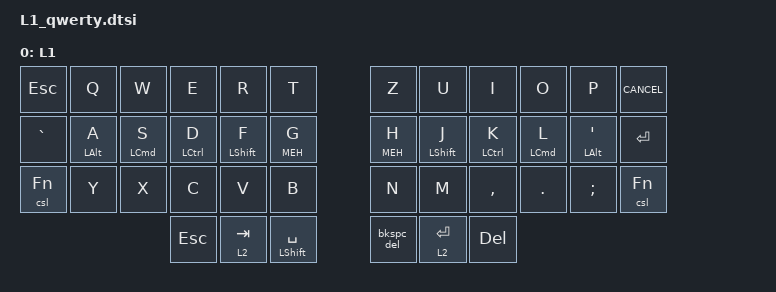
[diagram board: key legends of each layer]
/**
 * Alpha Layer - QWERTY
 */

/ {
  keymap {
    compatible = "zmk,keymap";

    qwerty_layer {
      display-name = "L1";
      bindings = <
// ╭───────────────┬───────────────┬───────────────┬───────────────┬───────────────┬───────────────╮   ╭───────────────┬───────────────┬───────────────┬───────────────┬───────────────┬───────────────╮
// │0              │1              │2              │3              │4              │5              │   │6              │7              │8              │9              │10             │11             │
    &kp ESC         &kp Q           &kp W           &kp E           &kp R           &kp T               &kp Z           &kp U           &kp I           &kp O           &kp P           &kp K_CANCEL
// ├───────────────├───────────────┼───────────────┼───────────────┼───────────────┼───────────────┤   ├───────────────├───────────────┼───────────────┼───────────────┼───────────────┼───────────────┤
// │12             │13             │14             │15             │16             │17             │   │18             │19             │20             │21             │22             │23             │
    &kp GRAVE       &hrml LALT A    &hrml LCMD S    &hrml LCTRL D   &hrml LSHFT F   &hrml MEH G         &hrmr MEH H      &hrmr LSHFT J  &hrmr LCTRL K   &hrmr LCMD L    &hrmr LALT SQT  &kp ENTER
// ├───────────────├───────────────┼───────────────┼───────────────┼───────────────┼───────────────┤   ├───────────────├───────────────┼───────────────┼───────────────┼───────────────┼───────────────┤
// │24             │25             │26             │27             │28             │29             │   │30             │31             │32             │33             │34             │35             │
    &csl Fn         &kp Y           &kp X           &kp C           &kp V           &kp B               &kp N           &kp M           &kp COMMA       &kp DOT         &kp SEMICOLON   &csl Fn
// ╰───────────────┴───────────────┴───────────────┼───────────────┼───────────────┼───────────────┤   ├───────────────├───────────────┼───────────────┼───────────────┴───────────────┴───────────────╯
//                                                 │36             │37             │38             │   │39             │40             │41             │
                                                    &kp ESC         &lt L2 TAB      &mt LSHFT SPACE     &bkspc_del      &lt L2 ENTER    &kp DEL    
//                                                 ╰───────────────┴───────────────┴───────────────╯   ╰───────────────┴───────────────┴───────────────╯
      >;
    };
  };
};
